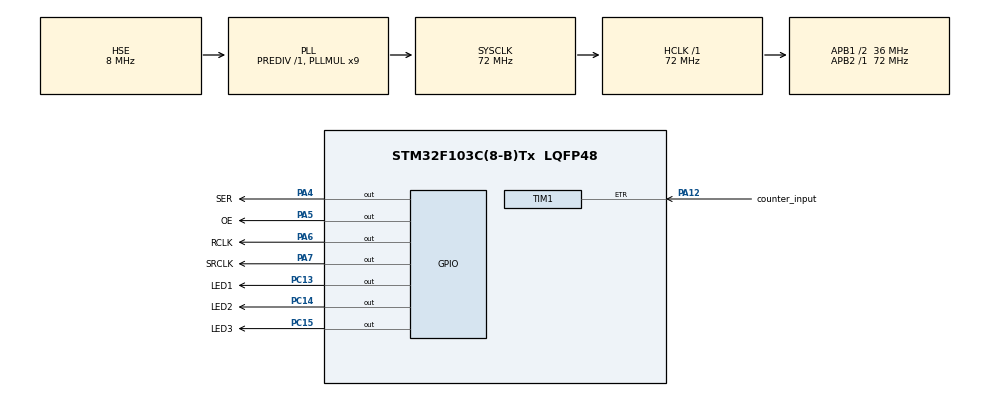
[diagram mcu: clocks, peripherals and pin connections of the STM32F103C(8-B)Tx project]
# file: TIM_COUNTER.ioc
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Mcu.Family=STM32F1
Mcu.Name=STM32F103C(8-B)Tx
Mcu.Package=LQFP48
NVIC.PriorityGroup=NVIC_PRIORITYGROUP_4
NVIC.TIM1_UP_IRQn=true\:0\:0\:false\:false\:true\:true\:true\:true
PA12.GPIO_Label=counter_input
PA12.Signal=S_TIM1_ETR
PA13.Mode=Serial_Wire
PA13.Signal=SYS_JTMS-SWDIO
PA14.Mode=Serial_Wire
PA14.Signal=SYS_JTCK-SWCLK
PA4.GPIO_Label=SER
PA4.GPIO_ModeDefaultOutputPP=GPIO_MODE_OUTPUT_OD
PA4.GPIO_PuPd=GPIO_NOPULL
PA4.GPIO_Speed=GPIO_SPEED_FREQ_HIGH
PA4.Signal=GPIO_Output
PA5.GPIO_Label=OE
PA5.GPIO_ModeDefaultOutputPP=GPIO_MODE_OUTPUT_OD
PA5.GPIO_PuPd=GPIO_NOPULL
PA5.GPIO_Speed=GPIO_SPEED_FREQ_HIGH
PA5.Signal=GPIO_Output
PA6.GPIO_Label=RCLK
PA6.GPIO_ModeDefaultOutputPP=GPIO_MODE_OUTPUT_OD
PA6.GPIO_PuPd=GPIO_NOPULL
PA6.GPIO_Speed=GPIO_SPEED_FREQ_HIGH
PA6.Signal=GPIO_Output
PA7.GPIO_Label=SRCLK
PA7.GPIO_ModeDefaultOutputPP=GPIO_MODE_OUTPUT_OD
PA7.GPIO_PuPd=GPIO_NOPULL
PA7.GPIO_Speed=GPIO_SPEED_FREQ_HIGH
PA7.Signal=GPIO_Output
PC13-TAMPER-RTC.GPIO_Label=LED1
PC13-TAMPER-RTC.GPIO_Speed=GPIO_SPEED_FREQ_HIGH
PC13-TAMPER-RTC.PinState=GPIO_PIN_SET
PC13-TAMPER-RTC.Signal=GPIO_Output
PC14-OSC32_IN.GPIO_Label=LED2
PC14-OSC32_IN.GPIO_Speed=GPIO_SPEED_FREQ_HIGH
PC14-OSC32_IN.PinState=GPIO_PIN_SET
PC14-OSC32_IN.Signal=GPIO_Output
PC15-OSC32_OUT.GPIO_Label=LED3
PC15-OSC32_OUT.GPIO_Speed=GPIO_SPEED_FREQ_HIGH
PC15-OSC32_OUT.PinState=GPIO_PIN_SET
PC15-OSC32_OUT.Signal=GPIO_Output
PD0-OSC_IN.Mode=HSE-External-Oscillator
PD0-OSC_IN.Signal=RCC_OSC_IN
PD1-OSC_OUT.Mode=HSE-External-Oscillator
PD1-OSC_OUT.Signal=RCC_OSC_OUT
ProjectManager.HeapSize=0x200
ProjectManager.StackSize=0x400
ProjectManager.TargetToolchain=STM32CubeIDE
RCC.AHBFreq_Value=72000000
RCC.APB1CLKDivider=RCC_HCLK_DIV2
RCC.APB1Freq_Value=36000000
RCC.APB1TimFreq_Value=72000000
RCC.APB2Freq_Value=72000000
RCC.APB2TimFreq_Value=72000000
RCC.HCLKFreq_Value=72000000
RCC.PLLMUL=RCC_PLL_MUL9
RCC.PLLSourceVirtual=RCC_PLLSOURCE_HSE
RCC.SYSCLKFreq_VALUE=72000000
RCC.SYSCLKSource=RCC_SYSCLKSOURCE_PLLCLK
RCC.USBFreq_Value=72000000
SH.S_TIM1_ETR.0=TIM1_ETR,ClockSourceETR_Mode2
TIM1.CounterMode=TIM_COUNTERMODE_UP
TIM1.Period=1000 - 1
board=custom

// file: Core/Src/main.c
/* USER CODE BEGIN Header */
/**
  ******************************************************************************
  * @file           : main.c
  * @brief          : Main program body
  ******************************************************************************
  * @attention
  *
  * Copyright (c) 2023 STMicroelectronics.
  * All rights reserved.
  *
  * This software is licensed under terms that can be found in the LICENSE file
  * in the root directory of this software component.
  * If no LICENSE file comes with this software, it is provided AS-IS.
  *
  ******************************************************************************
  */
/* USER CODE END Header */
#include "main.h"

TIM_HandleTypeDef htim1;

/* USER CODE BEGIN PV */
const char code7seg[] = {0xD7, 0x14, 0xCD, 0x5D, 0x1E, 0x5B, 0xDB, 0x15, 0xDF, 0x5F};
uint16_t counter = 0;
uint8_t s7seg[7] = {0};
/* USER CODE END PV */

void SystemClock_Config(void);
static void MX_GPIO_Init(void);
static void MX_TIM1_Init(void);
/* USER CODE BEGIN PFP */
void sendData74595(uint16_t data){
	for (uint8_t i = 0; i < 16; i++) {
		HAL_GPIO_WritePin(SER_GPIO_Port, SER_Pin, (data >> i) & 0x01);
		//nhịp 1 xung cạnh xuống đưa dữ liệu vào tầng lưu trữ
		HAL_GPIO_WritePin(SRCLK_GPIO_Port, SRCLK_Pin, 0);
		HAL_GPIO_WritePin(SRCLK_GPIO_Port, SRCLK_Pin, 1);
	}
	HAL_GPIO_WritePin(RCLK_GPIO_Port, RCLK_Pin, 0);
	HAL_GPIO_WritePin(RCLK_GPIO_Port, RCLK_Pin, 1);
}
void Scan7seg(){
	static uint32_t T_delay = 0;
	static uint8_t index = 0;
	if(index < 7){
		if(HAL_GetTick() - T_delay >= 1) {
			T_delay = HAL_GetTick();
			sendData74595((0x0100 << index) | s7seg[index]);
			index++;
		}
	}
	else{
		index = 0;
	}
}
/* USER CODE END PFP */

int main(void)
{

  /* MCU Configuration--------------------------------------------------------*/

  /* Reset of all peripherals, Initializes the Flash interface and the Systick. */
  HAL_Init();

  /* Configure the system clock */
  SystemClock_Config();

  /* Initialize all configured peripherals */
  MX_GPIO_Init();
  MX_TIM1_Init();
  /* USER CODE BEGIN 2 */
  HAL_TIM_Base_Start(&htim1);
  /* USER CODE END 2 */

  /* Infinite loop */
  /* USER CODE BEGIN WHILE */
  while (1)
  {
	counter = __HAL_TIM_GET_COUNTER(&htim1);
	s7seg[0] = code7seg[counter / 100];
	s7seg[1] = code7seg[counter / 10 % 10];
	s7seg[2] = code7seg[counter % 10];

    /* USER CODE END WHILE */

    /* USER CODE BEGIN 3 */
	Scan7seg();
  }
  /* USER CODE END 3 */
}

void SystemClock_Config(void)
{
  RCC_OscInitTypeDef RCC_OscInitStruct = {0};
  RCC_ClkInitTypeDef RCC_ClkInitStruct = {0};

  /** Initializes the RCC Oscillators according to the specified parameters
  * in the RCC_OscInitTypeDef structure.
  */
  RCC_OscInitStruct.OscillatorType = RCC_OSCILLATORTYPE_HSE;
  RCC_OscInitStruct.HSEState = RCC_HSE_ON;
  RCC_OscInitStruct.HSEPredivValue = RCC_HSE_PREDIV_DIV1;
  RCC_OscInitStruct.HSIState = RCC_HSI_ON;
  RCC_OscInitStruct.PLL.PLLState = RCC_PLL_ON;
  RCC_OscInitStruct.PLL.PLLSource = RCC_PLLSOURCE_HSE;
  RCC_OscInitStruct.PLL.PLLMUL = RCC_PLL_MUL9;
  if (HAL_RCC_OscConfig(&RCC_OscInitStruct) != HAL_OK)
  {
    Error_Handler();
  }

  /** Initializes the CPU, AHB and APB buses clocks
  */
  RCC_ClkInitStruct.ClockType = RCC_CLOCKTYPE_HCLK|RCC_CLOCKTYPE_SYSCLK
                              |RCC_CLOCKTYPE_PCLK1|RCC_CLOCKTYPE_PCLK2;
  RCC_ClkInitStruct.SYSCLKSource = RCC_SYSCLKSOURCE_PLLCLK;
  RCC_ClkInitStruct.AHBCLKDivider = RCC_SYSCLK_DIV1;
  RCC_ClkInitStruct.APB1CLKDivider = RCC_HCLK_DIV2;
  RCC_ClkInitStruct.APB2CLKDivider = RCC_HCLK_DIV1;

  if (HAL_RCC_ClockConfig(&RCC_ClkInitStruct, FLASH_LATENCY_2) != HAL_OK)
  {
    Error_Handler();
  }
}

static void MX_TIM1_Init(void)
{

  TIM_ClockConfigTypeDef sClockSourceConfig = {0};
  TIM_MasterConfigTypeDef sMasterConfig = {0};

  htim1.Instance = TIM1;
  htim1.Init.Prescaler = 0;
  htim1.Init.CounterMode = TIM_COUNTERMODE_UP;
  htim1.Init.Period = 1000 - 1;
  htim1.Init.ClockDivision = TIM_CLOCKDIVISION_DIV1;
  htim1.Init.RepetitionCounter = 0;
  htim1.Init.AutoReloadPreload = TIM_AUTORELOAD_PRELOAD_DISABLE;
  if (HAL_TIM_Base_Init(&htim1) != HAL_OK)
  {
    Error_Handler();
  }
  sClockSourceConfig.ClockSource = TIM_CLOCKSOURCE_ETRMODE2;
  sClockSourceConfig.ClockPolarity = TIM_CLOCKPOLARITY_NONINVERTED;
  sClockSourceConfig.ClockPrescaler = TIM_CLOCKPRESCALER_DIV1;
  sClockSourceConfig.ClockFilter = 0;
  if (HAL_TIM_ConfigClockSource(&htim1, &sClockSourceConfig) != HAL_OK)
  {
    Error_Handler();
  }
  sMasterConfig.MasterOutputTrigger = TIM_TRGO_RESET;
  sMasterConfig.MasterSlaveMode = TIM_MASTERSLAVEMODE_DISABLE;
  if (HAL_TIMEx_MasterConfigSynchronization(&htim1, &sMasterConfig) != HAL_OK)
  {
    Error_Handler();
  }

}

static void MX_GPIO_Init(void)
{
  GPIO_InitTypeDef GPIO_InitStruct = {0};

  /* GPIO Ports Clock Enable */
  __HAL_RCC_GPIOC_CLK_ENABLE();
  __HAL_RCC_GPIOD_CLK_ENABLE();
  __HAL_RCC_GPIOA_CLK_ENABLE();

  /*Configure GPIO pin Output Level */
  HAL_GPIO_WritePin(GPIOC, LED1_Pin|LED2_Pin|LED3_Pin, GPIO_PIN_SET);

  /*Configure GPIO pin Output Level */
  HAL_GPIO_WritePin(GPIOA, SER_Pin|OE_Pin|RCLK_Pin|SRCLK_Pin, GPIO_PIN_RESET);

  /*Configure GPIO pins : LED1_Pin LED2_Pin LED3_Pin */
  GPIO_InitStruct.Pin = LED1_Pin|LED2_Pin|LED3_Pin;
  GPIO_InitStruct.Mode = GPIO_MODE_OUTPUT_PP;
  GPIO_InitStruct.Pull = GPIO_NOPULL;
  GPIO_InitStruct.Speed = GPIO_SPEED_FREQ_HIGH;
  HAL_GPIO_Init(GPIOC, &GPIO_InitStruct);

  /*Configure GPIO pins : SER_Pin OE_Pin RCLK_Pin SRCLK_Pin */
  GPIO_InitStruct.Pin = SER_Pin|OE_Pin|RCLK_Pin|SRCLK_Pin;
  GPIO_InitStruct.Mode = GPIO_MODE_OUTPUT_OD;
  GPIO_InitStruct.Pull = GPIO_NOPULL;
  GPIO_InitStruct.Speed = GPIO_SPEED_FREQ_HIGH;
  HAL_GPIO_Init(GPIOA, &GPIO_InitStruct);

}

void Error_Handler(void)
{
  __disable_irq();
  while (1)
  {
  }
}
